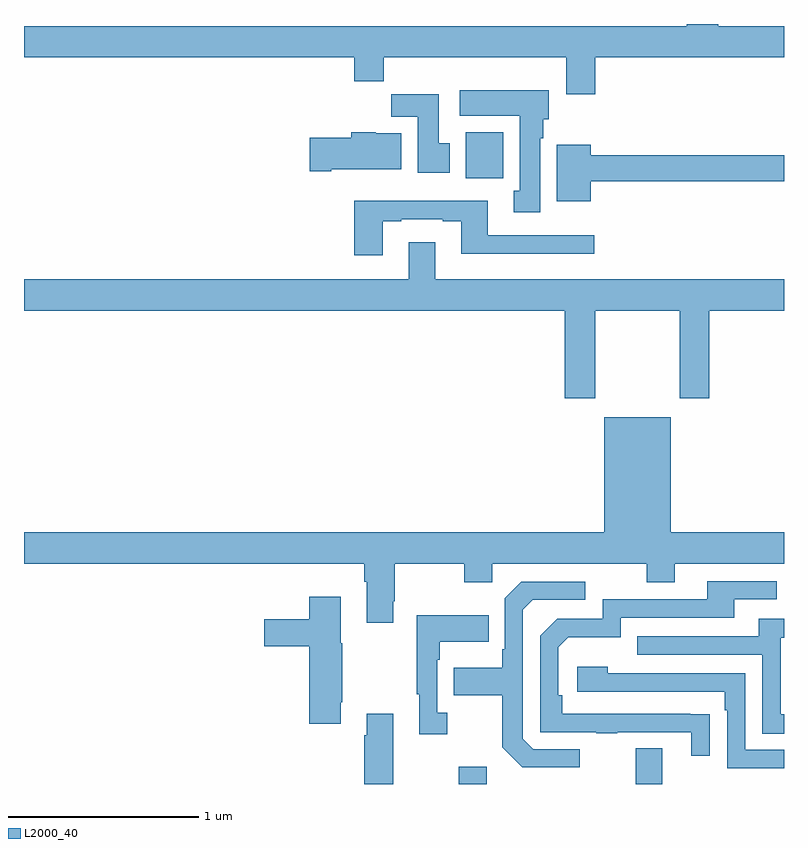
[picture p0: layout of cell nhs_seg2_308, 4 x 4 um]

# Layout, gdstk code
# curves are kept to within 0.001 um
import gdstk
lib = gdstk.Library(unit=1e-6, precision=1e-09)
def R(c, l, rs):  # rectangles x0, y0, x1, y1
    for r in rs: c.add(gdstk.rectangle(r[:2], r[2:], *l))
def P(c, l, *ps):  # polygons
    for p in ps: c.add(gdstk.Polygon(p, *l))
L2000_40 = (2000, 40)

nhs_seg2_308 = lib.new_cell('nhs_seg2_308')
R(nhs_seg2_308, L2000_40, [(127.288,655.8,127.435,655.891), (128.219,655.8,128.359,655.987), (127.325,658.988,127.522,659.23)])
P(nhs_seg2_308, L2000_40, [(128.006,659.624),(129,659.624),(129,659.788),(128.653,659.788),(128.653,659.8),(128.489,659.8),(128.489,659.788),(125,659.788),(125,659.624),(126.737,659.624),(126.737,659.5),(126.893,659.5),(126.893,659.624),(127.853,659.624),(127.853,659.43),(128.006,659.43)],
  [(127.717,659.198),(127.732,659.198),(127.732,659.298),(127.762,659.298),(127.762,659.452),(127.293,659.452),(127.293,659.318),(127.61,659.318),(127.61,658.922),(127.577,658.922),(127.577,658.809),(127.717,658.809)],
  [(127.24,659.172),(127.183,659.172),(127.183,659.431),(126.934,659.431),(126.934,659.312),(127.073,659.312),(127.073,659.016),(127.24,659.016)],
  [(126.616,659.036),(126.985,659.036),(126.985,659.224),(126.852,659.224),(126.852,659.23),(126.722,659.23),(126.722,659.202),(126.504,659.202),(126.504,659.024),(126.616,659.024)],
  [(127.984,658.972),(129,658.972),(129,659.108),(127.984,659.108),(127.984,659.164),(127.805,659.164),(127.805,658.868),(127.984,658.868)],
  [(126.889,658.761),(126.985,658.761),(126.985,658.773),(127.205,658.773),(127.205,658.761),(127.301,658.761),(127.301,658.592),(128.002,658.592),(128.002,658.689),(127.441,658.689),(127.441,658.87),(126.737,658.87),(126.737,658.584),(126.889,658.584)],
  [(128.007,658.292),(128.452,658.292),(128.452,657.831),(128.607,657.831),(128.607,658.292),(129,658.292),(129,658.456),(127.165,658.456),(127.165,658.651),(127.025,658.651),(127.025,658.456),(125,658.456),(125,658.292),(127.847,658.292),(127.847,657.831),(128.007,657.831)],
  [(126.943,656.761),(126.951,656.761),(126.951,656.96),(127.318,656.96),(127.318,656.861),(127.464,656.861),(127.464,656.96),(128.278,656.96),(128.278,656.861),(128.425,656.861),(128.425,656.96),(129,656.96),(129,657.124),(128.404,657.124),(128.404,657.73),(128.054,657.73),(128.054,657.124),(125,657.124),(125,656.96),(126.791,656.96),(126.791,656.864),(126.803,656.864),(126.803,656.649),(126.943,656.649)],
  [(128.609,656.168),(127.832,656.169),(127.832,656.266),(127.812,656.266),(127.812,656.52),(127.865,656.573),(128.142,656.573),(128.142,656.676),(128.737,656.676),(128.737,656.772),(128.962,656.772),(128.962,656.868),(128.597,656.868),(128.597,656.772),(128.046,656.772),(128.046,656.67),(127.806,656.67),(127.716,656.58),(127.716,656.073),(128.011,656.073),(128.011,656.068),(128.123,656.068),(128.123,656.073),(128.513,656.073),(128.513,655.95),(128.609,655.95)],
  [(127.924,655.983),(127.68,655.983),(127.626,656.037),(127.626,656.718),(127.677,656.769),(127.954,656.769),(127.954,656.865),(127.617,656.865),(127.53,656.778),(127.53,656.509),(127.518,656.509),(127.518,656.413),(127.261,656.413),(127.261,656.266),(127.518,656.266),(127.518,655.993),(127.623,655.887),(127.924,655.887)],
  [(126.667,656.23),(126.675,656.23),(126.675,656.541),(126.667,656.541),(126.667,656.785),(126.5,656.785),(126.5,656.667),(126.264,656.667),(126.264,656.525),(126.5,656.525),(126.5,656.118),(126.667,656.118)],
  [(127.228,656.174),(127.176,656.174),(127.176,656.453),(127.189,656.453),(127.189,656.549),(127.445,656.549),(127.445,656.689),(127.068,656.689),(127.068,656.273),(127.079,656.273),(127.079,656.061),(127.228,656.061)],
  [(129,656.166),(128.982,656.166),(128.982,656.571),(129,656.571),(129,656.671),(128.867,656.671),(128.867,656.577),(128.227,656.577),(128.227,656.481),(128.886,656.481),(128.886,656.065),(129,656.065)],
  [(129,655.98),(128.796,655.98),(128.796,656.382),(128.072,656.382),(128.072,656.416),(127.911,656.416),(127.911,656.286),(128.687,656.286),(128.687,656.189),(128.7,656.189),(128.7,655.884),(129,655.884)],
  [(126.943,656.17),(126.803,656.17),(126.803,656.057),(126.791,656.057),(126.791,655.8),(126.943,655.8)])

lib.write_gds('nhs_seg2_308.gds')
